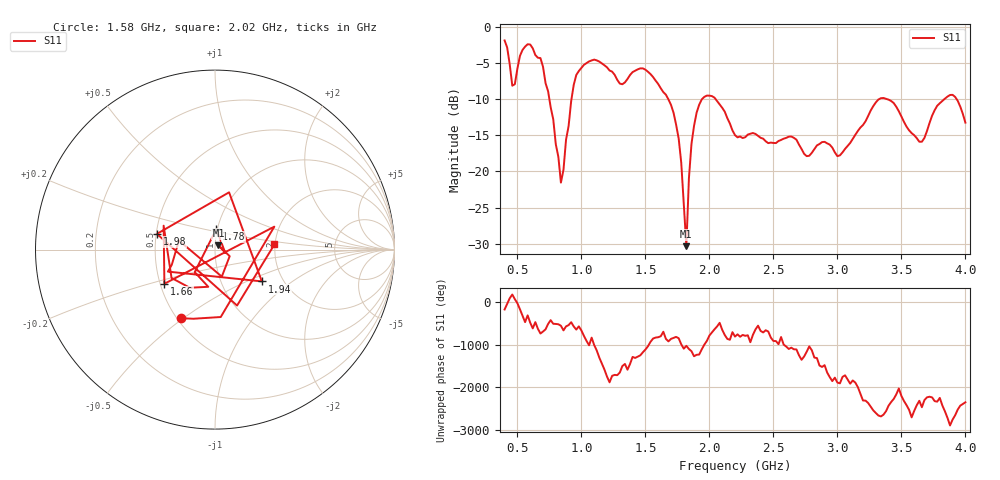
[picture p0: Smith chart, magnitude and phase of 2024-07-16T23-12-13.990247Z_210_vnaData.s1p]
!Created with skrf (http://scikit-rf.org).
# Hz S RI R 50.0
!freq ReS11 ImS11
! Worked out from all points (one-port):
!   181 points, 400 MHz to 4 GHz, reference 50 ohm
!   lowest |S11| = -30.3 dB at 1.82 GHz (marker M1), VSWR 1.06, Z = 51.9 + j2.44 ohm
!   |S11| at or under -10 dB: 1.679 GHz to 1.941 GHz (261.8 MHz wide, 14.5 % of centre); 2.049 GHz to 3.324 GHz (1.275 GHz wide, 47.4 % of centre); 3.391 GHz to 3.835 GHz (443.8 MHz wide, 12.3 % of centre) (the widest 3 of 5)
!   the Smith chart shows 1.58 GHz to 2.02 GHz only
!   S11 on the Smith chart (normalised r, x): 1.58 GHz: 0.53, -0.49; 1.66 GHz: 0.53, -0.23; 1.78 GHz: 0.99, +0.23; 1.94 GHz: 1.56, -0.61; 1.98 GHz: 0.50, +0.10; 2.02 GHz: 1.99, +0.13
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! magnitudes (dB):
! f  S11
! 400 MHz  -1.9
! 460 MHz  -8.1
! 560 MHz  -2.7
! 680 MHz  -4.3
! 840 MHz  -21.5
! 860 MHz  -19.8
! 920 MHz  -10.3
! 980 MHz  -6.1
! 1.3 GHz  -7.8
! 1.58 GHz  -7.4
! 1.66 GHz  -9.4
! 1.76 GHz  -15.4
! 1.78 GHz  -18.8
! 1.82 GHz  -30.3
! 1.84 GHz  -20.9
! 1.86 GHz  -16.2
! 1.94 GHz  -10.0
! 1.98 GHz  -9.5
! 2.02 GHz  -9.6
! 2.2 GHz  -15.0
! 2.66 GHz  -15.3
! 2.76 GHz  -17.9
! 3.1 GHz  -16.0
! 3.34 GHz  -9.8
! 3.56 GHz  -14.3
! 3.66 GHz  -15.9
! 3.88 GHz  -9.4
! 4 GHz  -13.2
